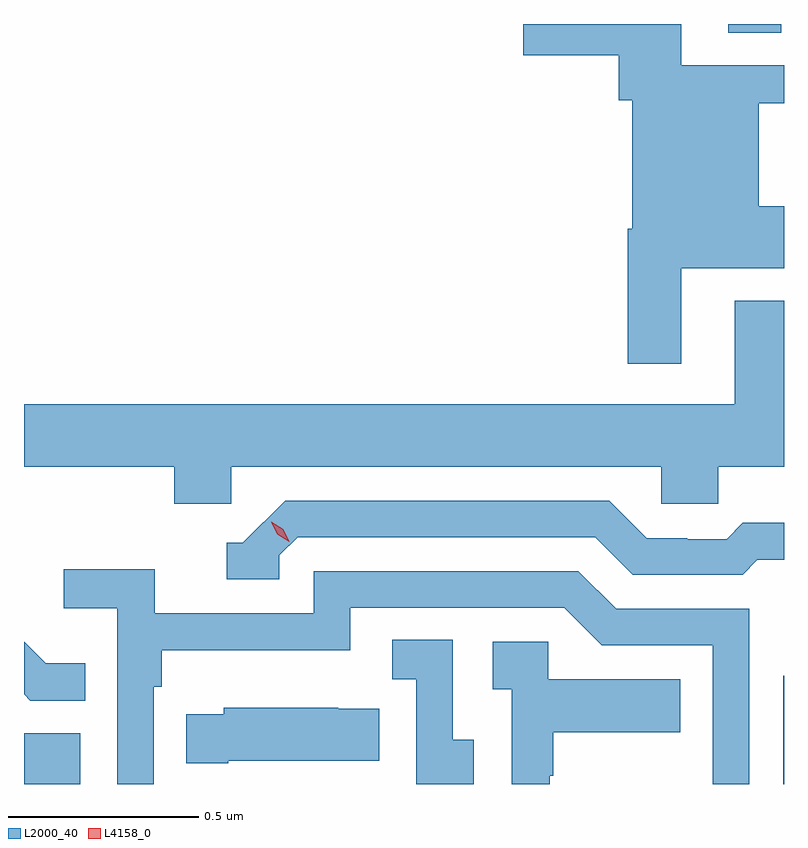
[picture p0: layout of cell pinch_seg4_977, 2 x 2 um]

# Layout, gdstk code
import gdstk
lib = gdstk.Library(unit=1e-6, precision=1e-09)
def R(c, l, rs):  # rectangles x0, y0, x1, y1
    for r in rs: c.add(gdstk.rectangle(r[:2], r[2:], *l))
def P(c, l, *ps):  # polygons
    for p in ps: c.add(gdstk.Polygon(p, *l))
L2000_40 = (2000, 40)
L4158_0 = (4158, 0)

pinch_seg4_977 = lib.new_cell('pinch_seg4_977')
R(pinch_seg4_977, L2000_40, [(813.372,769.345,813.52,769.479), (815.37,769.345,815.372,769.63), (815.225,771.322,815.365,771.345)])
P(pinch_seg4_977, L2000_40, [(815.101,770.702),(815.372,770.702),(815.372,770.866),(815.305,770.866),(815.305,771.136),(815.372,771.136),(815.372,771.237),(815.101,771.237),(815.101,771.345),(814.686,771.345),(814.686,771.263),(814.937,771.263),(814.937,771.144),(814.973,771.144),(814.973,770.806),(814.961,770.806),(814.961,770.451),(815.101,770.451)],
  [(813.918,770.18),(815.049,770.18),(815.049,770.082),(815.199,770.082),(815.199,770.18),(815.372,770.18),(815.372,770.617),(815.243,770.617),(815.243,770.344),(813.372,770.344),(813.372,770.18),(813.767,770.18),(813.767,770.082),(813.918,770.082)],
  [(814.044,769.947),(814.092,769.995),(814.875,769.995),(814.974,769.896),(815.263,769.896),(815.302,769.935),(815.372,769.935),(815.372,770.032),(815.263,770.032),(815.221,769.989),(815.118,769.989),(815.118,769.992),(815.011,769.992),(814.912,770.091),(814.059,770.091),(813.948,769.98),(813.905,769.98),(813.905,769.884),(814.044,769.884)],
  [(813.714,769.601),(813.734,769.601),(813.734,769.697),(814.23,769.697),(814.23,769.809),(814.794,769.809),(814.893,769.71),(815.184,769.71),(815.184,769.345),(815.28,769.345),(815.28,769.806),(814.93,769.806),(814.831,769.905),(814.134,769.905),(814.134,769.794),(813.716,769.794),(813.716,769.91),(813.477,769.91),(813.477,769.808),(813.618,769.808),(813.618,769.345),(813.714,769.345)],
  [(814.555,769.461),(814.5,769.461),(814.5,769.724),(814.341,769.724),(814.341,769.621),(814.404,769.621),(814.404,769.345),(814.555,769.345)],
  [(813.533,769.663),(813.429,769.663),(813.372,769.72),(813.372,769.581),(813.389,769.564),(813.533,769.564)],
  [(814.755,769.367),(814.765,769.367),(814.765,769.481),(815.099,769.481),(815.099,769.621),(814.752,769.621),(814.752,769.719),(814.605,769.719),(814.605,769.595),(814.656,769.595),(814.656,769.345),(814.755,769.345)],
  [(813.91,769.406),(814.307,769.406),(814.307,769.543),(814.199,769.543),(814.199,769.546),(813.897,769.546),(813.897,769.528),(813.799,769.528),(813.799,769.399),(813.91,769.399)])
P(pinch_seg4_977, L4158_0, [(814.07,769.983),(814.039,770.002),(814.023,770.035),(814.023,770.035),(814.023,770.035),(814.054,770.016),(814.07,769.983),(814.07,769.983)])

lib.write_gds('pinch_seg4_977.gds')
